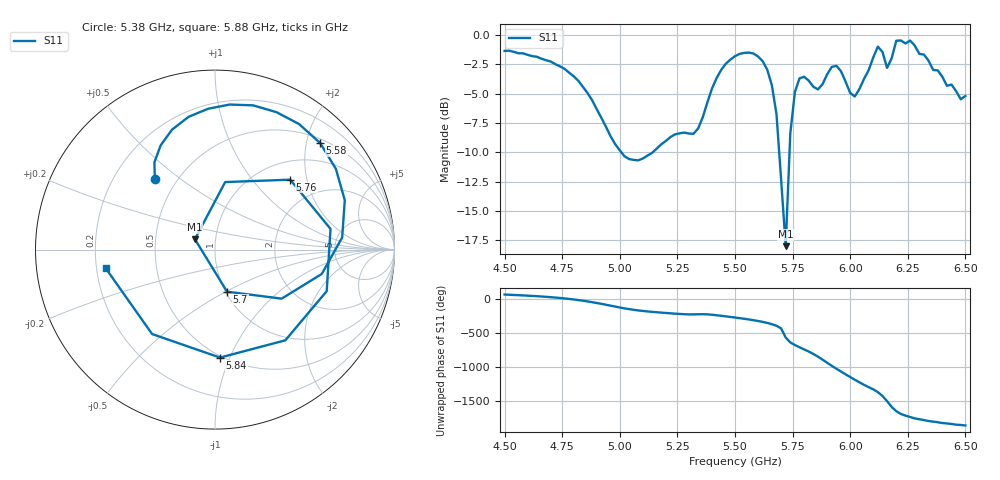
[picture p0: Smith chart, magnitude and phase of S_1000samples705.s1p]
! TOUCHSTONE file generated by CST MICROWAVE STUDIO
! Date and time: Sat Oct 29 02:29:26 2022
! Project name: L.cst
! Parameters = {Di=1.27; Epsilon_r=1.56; InnerDiameter=1.27; Length=2; Lf=10; Lg=60; OuterConductorThickness=0.2921; OuterDiameter=3.6; Wf=3; Wp=41.2; de=1.5; df=6.8; g=0.8; gx=4.07678; gy=0.901832; h=2.34; hf=1.524; px=12.9755; py=13.6874; w=9.7; wx=8.89874; wy=12.7856}
! Header version: 2018
! Port assignment regex: !\s*Touchstone port\s*([0-9]+)\s*=\s*(CST MWS port|CST DS port)\s*([0-9]+|Zmin|Zmax)\s*\(\"(.*)\"\)(\s*mode\s*([0-9]+))?.*
! Touchstone port assignment:
! Touchstone port 1 = CST MWS port 1 ("")
# GHz S DB R 50
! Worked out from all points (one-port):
!   101 points, 4.5 GHz to 6.5 GHz, reference 50 ohm
!   lowest |S11| = -18.0 dB at 5.72 GHz (marker M1), VSWR 1.29, Z = 39.7 + j4.67 ohm
!   |S11| at or under -10 dB: 5.007 GHz to 5.142 GHz (135.4 MHz wide, 2.67 % of centre); 5.692 GHz to 5.737 GHz (44.8 MHz wide, 0.784 % of centre)
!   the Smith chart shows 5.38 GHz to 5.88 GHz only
!   S11 on the Smith chart (normalised r, x): 5.38 GHz: 0.38, +0.41; 5.58 GHz: 0.58, +2.27; 5.7 GHz: 1.02, -0.51; 5.76 GHz: 1.37, +1.59; 5.84 GHz: 0.49, -0.92; 5.88 GHz: 0.24, -0.08
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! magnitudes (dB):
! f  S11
! 4.5 GHz  -1.4
! 4.76 GHz  -2.9
! 4.86 GHz  -4.9
! 5 GHz  -9.8
! 5.08 GHz  -10.7
! 5.26 GHz  -8.4
! 5.32 GHz  -8.4
! 5.38 GHz  -5.7
! 5.44 GHz  -3.0
! 5.5 GHz  -1.8
! 5.58 GHz  -1.6
! 5.66 GHz  -4.3
! 5.68 GHz  -6.7
! 5.7 GHz  -12.3
! 5.72 GHz  -18.0
! 5.74 GHz  -8.4
! 5.76 GHz  -4.8
! 5.8 GHz  -3.6
! 5.84 GHz  -4.4
! 5.88 GHz  -4.2
! 5.94 GHz  -2.6
! 6 GHz  -4.9
! 6.04 GHz  -4.6
! 6.12 GHz  -1.0
! 6.16 GHz  -2.8
! 6.2 GHz  -0.5
! 6.26 GHz  -0.5
! 6.5 GHz  -5.2
